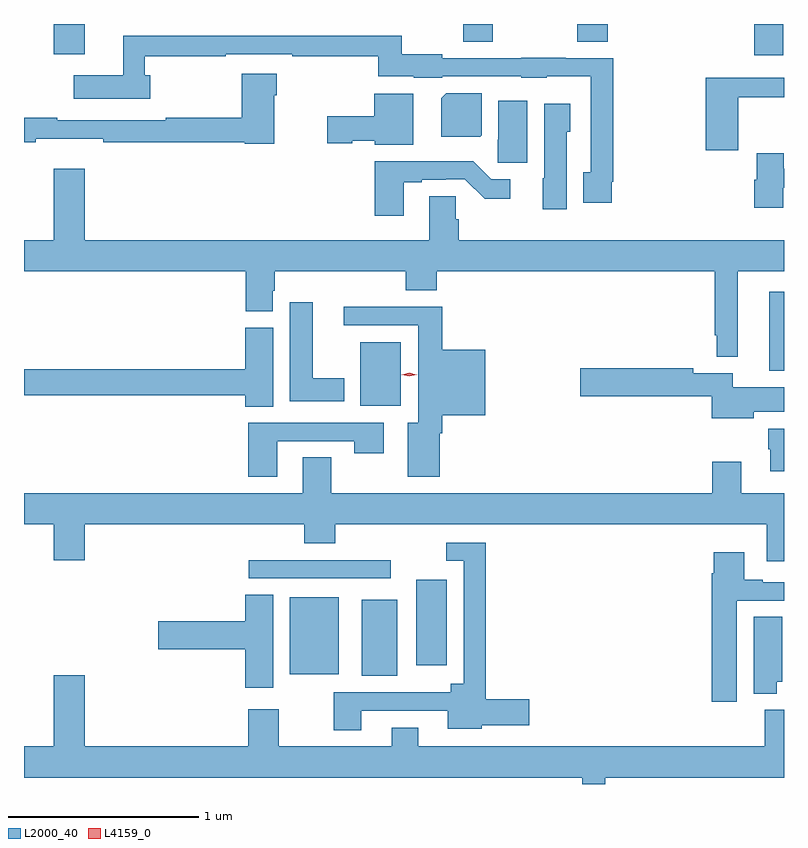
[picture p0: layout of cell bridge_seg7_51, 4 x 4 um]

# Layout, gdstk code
import gdstk
lib = gdstk.Library(unit=1e-6, precision=1e-09)
def R(c, l, rs):  # rectangles x0, y0, x1, y1
    for r in rs: c.add(gdstk.rectangle(r[:2], r[2:], *l))
def P(c, l, *ps):  # polygons
    for p in ps: c.add(gdstk.Polygon(p, *l))
L2000_40 = (2000, 40)
L4159_0 = (4159, 0)

bridge_seg7_51 = lib.new_cell('bridge_seg7_51')
R(bridge_seg7_51, L2000_40, [(957.836,1018.469,958.024,1018.867), (957.458,1018.475,957.715,1018.882), (958.124,1018.524,958.285,1018.972), (957.243,1018.98,957.988,1019.076), (957.83,1019.888,958.042,1020.223), (959.981,1020.074,960.059,1020.49), (959.903,1021.734,960.055,1021.898), (956.216,1021.74,956.38,1021.898), (958.372,1021.804,958.527,1021.898), (958.972,1021.804,959.132,1021.898)])
P(bridge_seg7_51, L2000_40, [(959.152,1021.069),(959.159,1021.069),(959.159,1021.719),(958.909,1021.719),(958.909,1021.721),(958.677,1021.721),(958.677,1021.719),(958.26,1021.719),(958.26,1021.738),(958.048,1021.738),(958.048,1021.836),(956.582,1021.836),(956.582,1021.627),(956.322,1021.627),(956.322,1021.505),(956.723,1021.505),(956.723,1021.627),(956.695,1021.627),(956.695,1021.728),(957.122,1021.728),(957.122,1021.74),(957.472,1021.74),(957.472,1021.728),(957.923,1021.728),(957.923,1021.622),(958.11,1021.622),(958.11,1021.616),(958.26,1021.616),(958.26,1021.623),(958.677,1021.623),(958.677,1021.616),(958.809,1021.616),(958.809,1021.622),(959.043,1021.622),(959.043,1021.118),(959.003,1021.118),(959.003,1020.957),(959.152,1020.957)],
  [(957.376,1021.523),(957.389,1021.523),(957.389,1021.636),(957.206,1021.636),(957.206,1021.405),(956.806,1021.405),(956.806,1021.392),(956.234,1021.392),(956.234,1021.405),(956.059,1021.405),(956.059,1021.276),(956.12,1021.276),(956.12,1021.295),(956.476,1021.295),(956.476,1021.276),(957.222,1021.276),(957.222,1021.268),(957.376,1021.268)],
  [(959.818,1021.513),(960.059,1021.513),(960.059,1021.614),(959.648,1021.614),(959.648,1021.233),(959.818,1021.233)],
  [(958.468,1021.312),(958.468,1021.534),(958.282,1021.534),(958.256,1021.508),(958.256,1021.304),(958.46,1021.304)],
  [(958.108,1021.532),(957.902,1021.532),(957.902,1021.413),(957.654,1021.413),(957.654,1021.271),(957.786,1021.271),(957.786,1021.283),(957.906,1021.283),(957.906,1021.262),(958.108,1021.262)],
  [(958.708,1021.495),(958.556,1021.495),(958.556,1021.29),(958.552,1021.29),(958.552,1021.167),(958.708,1021.167)],
  [(958.915,1021.332),(958.933,1021.332),(958.933,1021.477),(958.796,1021.477),(958.796,1021.086),(958.79,1021.086),(958.79,1020.924),(958.915,1020.924)],
  [(960.055,1021.035),(960.059,1021.035),(960.059,1021.135),(960.058,1021.135),(960.058,1021.219),(959.915,1021.219),(959.915,1021.077),(959.903,1021.077),(959.903,1020.93),(960.055,1020.93)],
  [(958.057,1021.065),(958.153,1021.065),(958.153,1021.077),(958.28,1021.077),(958.28,1021.08),(958.38,1021.08),(958.483,1020.978),(958.618,1020.978),(958.618,1021.08),(958.518,1021.08),(958.423,1021.175),(957.905,1021.175),(957.905,1020.888),(958.057,1020.888)],
  [(958.193,1020.76),(956.38,1020.76),(956.38,1021.135),(956.216,1021.135),(956.216,1020.76),(956.059,1020.76),(956.059,1020.596),(957.227,1020.596),(957.227,1020.385),(957.367,1020.385),(957.367,1020.495),(957.38,1020.495),(957.38,1020.596),(958.067,1020.596),(958.067,1020.497),(958.232,1020.497),(958.232,1020.596),(959.694,1020.596),(959.694,1020.259),(959.704,1020.259),(959.704,1020.147),(959.815,1020.147),(959.815,1020.596),(960.059,1020.596),(960.059,1020.76),(958.346,1020.76),(958.346,1020.87),(958.332,1020.87),(958.332,1020.992),(958.193,1020.992)],
  [(957.745,1020.034),(957.58,1020.034),(957.58,1020.433),(957.458,1020.433),(957.458,1019.912),(957.745,1019.912)],
  [(958.246,1019.744),(958.259,1019.744),(958.259,1019.84),(958.486,1019.84),(958.486,1020.184),(958.259,1020.184),(958.259,1020.41),(957.741,1020.41),(957.741,1020.312),(958.133,1020.312),(958.133,1019.8),(958.079,1019.8),(958.079,1019.514),(958.246,1019.514)],
  [(957.37,1020.3),(957.224,1020.3),(957.224,1020.08),(956.059,1020.08),(956.059,1019.944),(957.224,1019.944),(957.224,1019.884),(957.37,1019.884)],
  [(959.899,1019.858),(960.059,1019.858),(960.059,1019.986),(959.788,1019.986),(959.788,1020.06),(959.582,1020.06),(959.582,1020.086),(958.986,1020.086),(958.986,1019.939),(959.678,1019.939),(959.678,1019.822),(959.899,1019.822)],
  [(957.391,1019.703),(957.796,1019.703),(957.796,1019.64),(957.952,1019.64),(957.952,1019.799),(957.239,1019.799),(957.239,1019.514),(957.391,1019.514)],
  [(960.059,1019.769),(959.975,1019.769),(959.975,1019.661),(959.987,1019.661),(959.987,1019.544),(960.059,1019.544)],
  [(960.059,1019.428),(959.833,1019.428),(959.833,1019.593),(959.681,1019.593),(959.681,1019.428),(957.675,1019.428),(957.675,1019.618),(957.527,1019.618),(957.527,1019.428),(956.059,1019.428),(956.059,1019.264),(956.216,1019.264),(956.216,1019.076),(956.38,1019.076),(956.38,1019.264),(957.533,1019.264),(957.533,1019.165),(957.698,1019.165),(957.698,1019.264),(959.969,1019.264),(959.969,1019.07),(960.059,1019.07)],
  [(957.835,1018.284),(958.289,1018.284),(958.289,1018.19),(958.467,1018.19),(958.467,1018.208),(958.717,1018.208),(958.717,1018.343),(958.49,1018.343),(958.49,1019.169),(958.281,1019.169),(958.281,1019.073),(958.374,1019.073),(958.374,1018.426),(958.304,1018.426),(958.304,1018.38),(957.688,1018.38),(957.688,1018.182),(957.835,1018.182)],
  [(959.809,1018.863),(960.059,1018.863),(960.059,1018.959),(959.947,1018.959),(959.947,1018.972),(959.851,1018.972),(959.851,1019.119),(959.69,1019.119),(959.69,1019.006),(959.678,1019.006),(959.678,1018.332),(959.809,1018.332)],
  [(957.37,1018.895),(957.224,1018.895),(957.224,1018.754),(956.766,1018.754),(956.766,1018.607),(957.224,1018.607),(957.224,1018.404),(957.37,1018.404)],
  [(960.022,1018.437),(960.049,1018.437),(960.049,1018.778),(959.9,1018.778),(959.9,1018.373),(960.022,1018.373)],
  [(959.119,1017.932),(960.059,1017.932),(960.059,1018.288),(959.957,1018.288),(959.957,1018.096),(958.135,1018.096),(958.135,1018.195),(957.995,1018.195),(957.995,1018.096),(957.399,1018.096),(957.399,1018.291),(957.239,1018.291),(957.239,1018.096),(956.38,1018.096),(956.38,1018.471),(956.216,1018.471),(956.216,1018.096),(956.059,1018.096),(956.059,1017.932),(958.997,1017.932),(958.997,1017.898),(959.119,1017.898)])
P(bridge_seg7_51, L4159_0, [(958.086,1020.043),(958.048,1020.053),(958.048,1020.053),(958.048,1020.053),(958.086,1020.063),(958.125,1020.053),(958.125,1020.053),(958.125,1020.053)])

lib.write_gds('bridge_seg7_51.gds')
